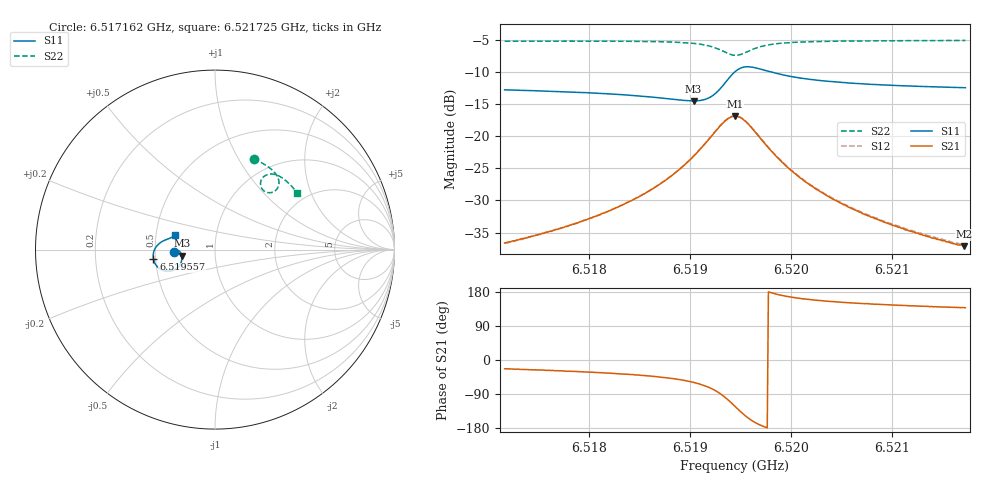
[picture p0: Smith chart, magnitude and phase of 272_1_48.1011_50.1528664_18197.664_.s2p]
#  HZ  S  RI  R  50.00
! Rohde & Schwarz Vector Network Analyzer
! Rohde-Schwarz,ZNB20-2Port,1311601062101988,3.16
! Created: UTC 12/23/2023, 4:01:51 AM
! freq[Hz]  re:S11  im:S11  re:S21  im:S21  re:S12  im:S12  re:S22  im:S22
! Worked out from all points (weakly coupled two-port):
!   401 points, 6.517162 GHz to 6.521725 GHz, reference 50 ohm
!   highest |S21| = -16.88 dB at 6.519443 GHz (marker M1); lowest = -37.1 dB at 6.521713 GHz (marker M2)
!   lowest |S11| = -14.5 dB at 6.519033 GHz (marker M3), VSWR 1.46, Z = 34.3 - j2.46 ohm
!   |S11| at or under -10 dB: start of sweep to 6.519441 GHz; 6.519798 GHz to end of sweep
!   |S22| runs from -7.4 to -5.1 dB; largest |S21 - S12| = 0.0044
!   S11 on the Smith chart (normalised r, x): 6.517162 GHz: 0.63, -0.02; 6.519557 GHz: 0.49, -0.06; 6.521725 GHz: 0.63, +0.11
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6.5171619e9  -0.2291 -0.0138  0.0136 -0.00579  0.0137 -0.00531  0.2148 0.5049
6.5176182e9  -0.2237 -0.00742  0.0161 -0.00837  0.0164 -0.00794  0.2482 0.4896
6.5179262e9  -0.2188 -0.00423  0.0186 -0.0113  0.019 -0.0107  0.271 0.4773
6.5183254e9  -0.2104 -0.00283  0.0232 -0.0175  0.0238 -0.0167  0.301 0.4577
6.5186904e9  -0.199 -0.00825  0.0298 -0.0293  0.0309 -0.0286  0.3294 0.4328
6.5188844e9  -0.191 -0.0184  0.0341 -0.0425  0.0357 -0.0416  0.3444 0.4132
6.5190326e9  -0.1852 -0.0346  0.0359 -0.0599  0.038 -0.0591  0.354 0.3914
6.5191467e9  -0.1848 -0.0567  0.0325 -0.0812  0.0351 -0.0808  0.3564 0.3678
6.5192266e9  -0.1923 -0.0793  0.0223 -0.1014  0.0254 -0.1015  0.3508 0.347
6.519352e9  -0.2369 -0.1168  -0.023 -0.1307  -0.0194 -0.1325  0.3159 0.3181
6.5194433e9  -0.2969 -0.1127  -0.0767 -0.121  -0.0738 -0.1241  0.2739 0.3262
6.5195003e9  -0.3279 -0.0873  -0.1013 -0.0952  -0.0994 -0.0989  0.2569 0.3481
6.5195574e9  -0.3428 -0.0541  -0.1108 -0.0647  -0.1098 -0.0684  0.2537 0.3735
6.5196714e9  -0.3367 3.54e-05  -0.0996 -0.0192  -0.0998 -0.0223  0.2734 0.408
6.5197855e9  -0.3168 0.0284  -0.0794 0.00157  -0.0801 -0.000605  0.2992 0.4199
6.5200022e9  -0.287 0.049  -0.0524 0.0132  -0.0531 0.0118  0.3359 0.4179
6.5202076e9  -0.2698 0.0564  -0.038 0.0148  -0.0389 0.0137  0.3599 0.4081
6.5205726e9  -0.2517 0.0633  -0.0244 0.0136  -0.0252 0.013  0.3909 0.3871
6.5209718e9  -0.2398 0.069  -0.0171 0.0118  -0.0177 0.0113  0.417 0.3632
6.5213711e9  -0.2311 0.0744  -0.0127 0.0104  -0.0133 0.0102  0.4393 0.3389
6.5217133e9  -0.225 0.079  -0.0104 0.00928  -0.0107 0.00913  0.4563 0.3176
6.5217247e9  -0.2249 0.0792  -0.0104 0.00935  -0.0107 0.00926  0.4569 0.3169
